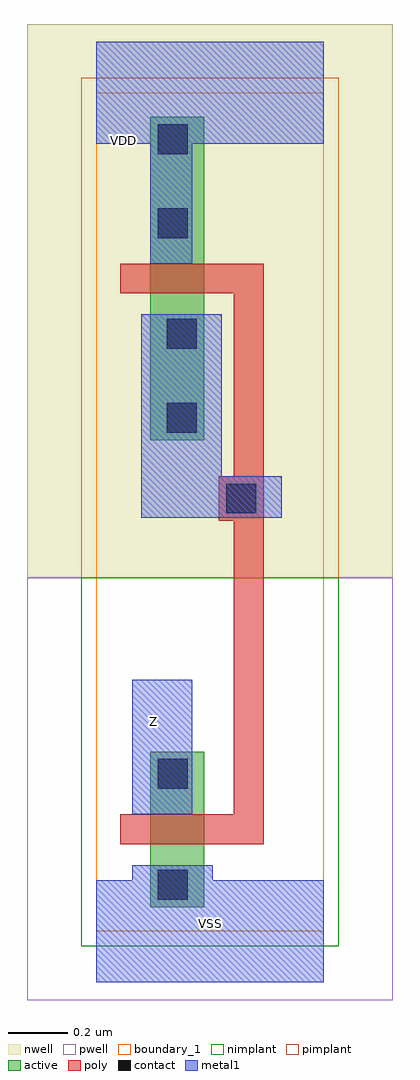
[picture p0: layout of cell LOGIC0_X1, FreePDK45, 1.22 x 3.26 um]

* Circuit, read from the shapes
.subckt LOGIC0_X1 VDD VSS Z
M1 Z n1 VSS VSUBS nfet w=0.18u l=0.1u
M2 VDD n1 n1 n2 pfet w=0.18u l=0.1u
.ends

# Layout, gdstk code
import gdstk
lib = gdstk.Library(unit=1e-6, precision=1e-09)
def R(c, l, rs):  # rectangles x0, y0, x1, y1
    for r in rs: c.add(gdstk.rectangle(r[:2], r[2:], *l))
def P(c, l, *ps):  # polygons
    for p in ps: c.add(gdstk.Polygon(p, *l))
active = (1, 0)
pwell = (2, 0)
nwell = (3, 0)
nimplant = (4, 0)
pimplant = (5, 0)
poly = (9, 0)
contact = (10, 0)
metal1 = (11, 0)
boundary_1 = (235, 1)

logic0_x1 = lib.new_cell('LOGIC0_X1')
R(logic0_x1, active, [(0.18,0.08,0.36,0.6), (0.18,1.64,0.36,2.72)])
R(logic0_x1, pwell, [(-0.23,-0.23,0.99,1.18)])
R(logic0_x1, nwell, [(-0.23,1.18,0.99,3.03)])
R(logic0_x1, nimplant, [(-0.05,-0.05,0.81,1.18)])
R(logic0_x1, pimplant, [(-0.05,1.18,0.81,2.85)])
P(logic0_x1, poly, [(0.08,2.13),(0.46,2.13),(0.46,1.52),(0.41,1.52),(0.41,1.37),(0.46,1.37),(0.46,0.39),(0.08,0.39),(0.08,0.29),(0.56,0.29),(0.56,2.23),(0.08,2.23)])
R(logic0_x1, contact, [(0.205,0.105,0.305,0.205), (0.205,0.475,0.305,0.575), (0.435,1.395,0.535,1.495), (0.235,1.665,0.335,1.765), (0.235,1.945,0.335,2.045), (0.205,2.315,0.305,2.415), (0.205,2.595,0.305,2.695)])
R(logic0_x1, metal1, [(0.12,0.39,0.32,0.84), (0.12,0.39,0.32,0.84)])
P(logic0_x1, metal1, [(0,-0.17),(0.76,-0.17),(0.76,0.17),(0.39,0.17),(0.39,0.22),(0.12,0.22),(0.12,0.17),(0,0.17)],
  [(0,2.63),(0.18,2.63),(0.18,2.23),(0.32,2.23),(0.32,2.63),(0.76,2.63),(0.76,2.97),(0,2.97)],
  [(0,2.63),(0.18,2.63),(0.18,2.23),(0.32,2.23),(0.32,2.63),(0.76,2.63),(0.76,2.97),(0,2.97)],
  [(0,-0.17),(0.76,-0.17),(0.76,0.17),(0.39,0.17),(0.39,0.22),(0.12,0.22),(0.12,0.17),(0,0.17)],
  [(0.15,1.38),(0.62,1.38),(0.62,1.52),(0.42,1.52),(0.42,2.06),(0.15,2.06)])
R(logic0_x1, boundary_1, [(0,0,0.76,2.8)])
logic0_x1.add(gdstk.Label('Z', (0.19,0.7), layer=11, texttype=0))
logic0_x1.add(gdstk.Label('VSS', (0.38,0.025), layer=11, texttype=0))
logic0_x1.add(gdstk.Label('VDD', (0.09,2.64), layer=11, texttype=0))

lib.write_gds('LOGIC0_X1.gds')
